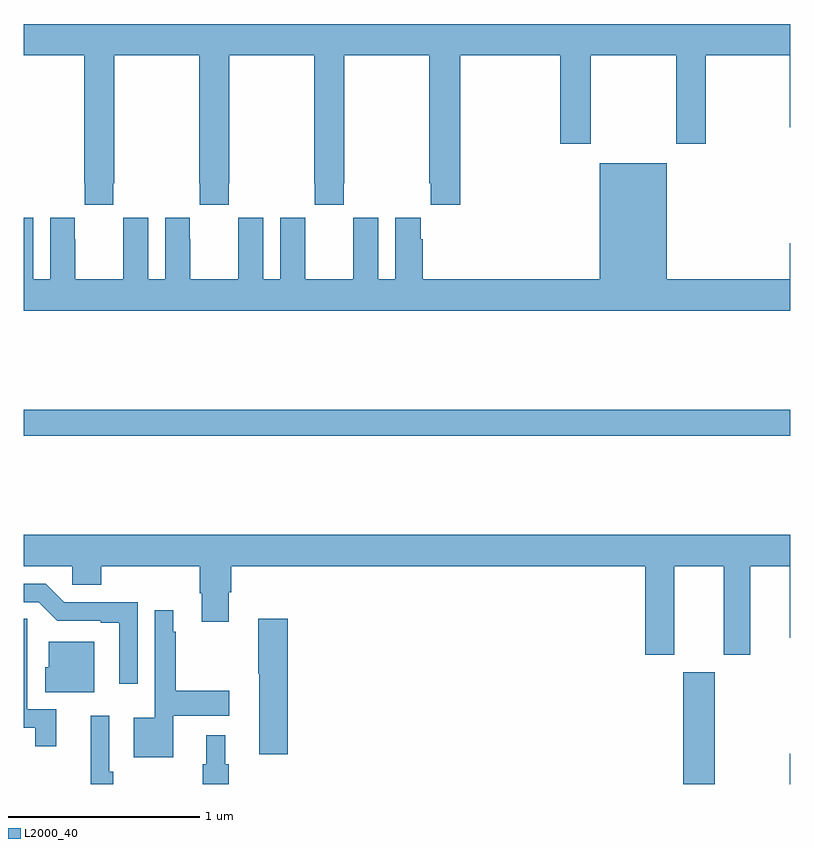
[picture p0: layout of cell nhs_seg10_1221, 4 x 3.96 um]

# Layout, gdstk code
import gdstk
lib = gdstk.Library(unit=1e-6, precision=1e-09)
def R(c, l, rs):  # rectangles x0, y0, x1, y1
    for r in rs: c.add(gdstk.rectangle(r[:2], r[2:], *l))
def P(c, l, *ps):  # polygons
    for p in ps: c.add(gdstk.Polygon(p, *l))
L2000_40 = (2000, 40)

nhs_seg10_1221 = lib.new_cell('nhs_seg10_1221')
R(nhs_seg10_1221, L2000_40, [(176.441,1312.5,176.605,1313.083), (176.996,1312.5,177,1312.657), (173,1314.316,177,1314.452)])
P(nhs_seg10_1221, L2000_40, [(173.469,1315.633),(173.472,1315.633),(173.472,1316.3),(173.917,1316.3),(173.917,1315.633),(173.919,1315.633),(173.919,1315.521),(174.069,1315.521),(174.069,1315.633),(174.072,1315.633),(174.072,1316.3),(174.517,1316.3),(174.517,1315.633),(174.519,1315.633),(174.519,1315.521),(174.669,1315.521),(174.669,1315.633),(174.672,1315.633),(174.672,1316.3),(175.117,1316.3),(175.117,1315.633),(175.123,1315.633),(175.123,1315.521),(175.277,1315.521),(175.277,1316.3),(175.799,1316.3),(175.799,1315.839),(175.959,1315.839),(175.959,1316.3),(176.404,1316.3),(176.404,1315.839),(176.559,1315.839),(176.559,1316.3),(176.996,1316.3),(176.996,1315.926),(177,1315.926),(177,1316.464),(173,1316.464),(173,1316.3),(173.317,1316.3),(173.317,1315.633),(173.319,1315.633),(173.319,1315.521),(173.469,1315.521)],
  [(177,1315.321),(176.996,1315.321),(176.996,1315.132),(176.356,1315.132),(176.356,1315.738),(176.006,1315.738),(176.006,1315.132),(175.082,1315.132),(175.082,1315.34),(175.072,1315.34),(175.072,1315.453),(174.938,1315.453),(174.938,1315.132),(174.85,1315.132),(174.85,1315.453),(174.72,1315.453),(174.72,1315.34),(174.719,1315.34),(174.719,1315.132),(174.469,1315.132),(174.469,1315.34),(174.468,1315.34),(174.468,1315.453),(174.338,1315.453),(174.338,1315.132),(174.25,1315.132),(174.25,1315.453),(174.12,1315.453),(174.12,1315.34),(174.119,1315.34),(174.119,1315.132),(173.869,1315.132),(173.869,1315.34),(173.868,1315.34),(173.868,1315.453),(173.738,1315.453),(173.738,1315.132),(173.65,1315.132),(173.65,1315.453),(173.52,1315.453),(173.52,1315.34),(173.519,1315.34),(173.519,1315.132),(173.269,1315.132),(173.269,1315.34),(173.268,1315.34),(173.268,1315.453),(173.138,1315.453),(173.138,1315.132),(173.05,1315.132),(173.05,1315.453),(173,1315.453),(173,1314.968),(177,1314.968)],
  [(176.395,1313.636),(176.651,1313.636),(176.651,1313.175),(176.791,1313.175),(176.791,1313.636),(176.996,1313.636),(176.996,1313.262),(177,1313.262),(177,1313.8),(173,1313.8),(173,1313.636),(173.253,1313.636),(173.253,1313.538),(173.405,1313.538),(173.405,1313.636),(173.918,1313.636),(173.918,1313.494),(173.93,1313.494),(173.93,1313.346),(174.07,1313.346),(174.07,1313.499),(174.083,1313.499),(174.083,1313.636),(176.243,1313.636),(176.243,1313.175),(176.395,1313.175)],
  [(173.595,1313.448),(173.211,1313.448),(173.115,1313.544),(173,1313.544),(173,1313.448),(173.079,1313.448),(173.175,1313.352),(173.402,1313.352),(173.402,1313.34),(173.498,1313.34),(173.498,1313.022),(173.595,1313.022)],
  [(173.782,1312.856),(174.073,1312.856),(174.073,1312.986),(173.794,1312.986),(173.794,1313.294),(173.782,1313.294),(173.782,1313.407),(173.685,1313.407),(173.685,1312.846),(173.576,1312.846),(173.576,1312.64),(173.782,1312.64)],
  [(173.171,1312.89),(173.02,1312.89),(173.02,1313.252),(173.019,1313.252),(173.019,1313.363),(173,1313.363),(173,1312.794),(173.062,1312.794),(173.062,1312.698),(173.171,1312.698)],
  [(174.377,1313.362),(174.223,1313.362),(174.223,1313.074),(174.23,1313.074),(174.23,1312.656),(174.377,1312.656)],
  [(173.368,1313.242),(173.132,1313.242),(173.132,1313.109),(173.114,1313.109),(173.114,1312.979),(173.368,1312.979)],
  [(173.468,1312.564),(173.448,1312.564),(173.448,1312.855),(173.351,1312.855),(173.351,1312.5),(173.468,1312.5)],
  [(174.071,1312.602),(174.052,1312.602),(174.052,1312.753),(173.954,1312.753),(173.954,1312.602),(173.935,1312.602),(173.935,1312.5),(174.071,1312.5)])

lib.write_gds('nhs_seg10_1221.gds')
